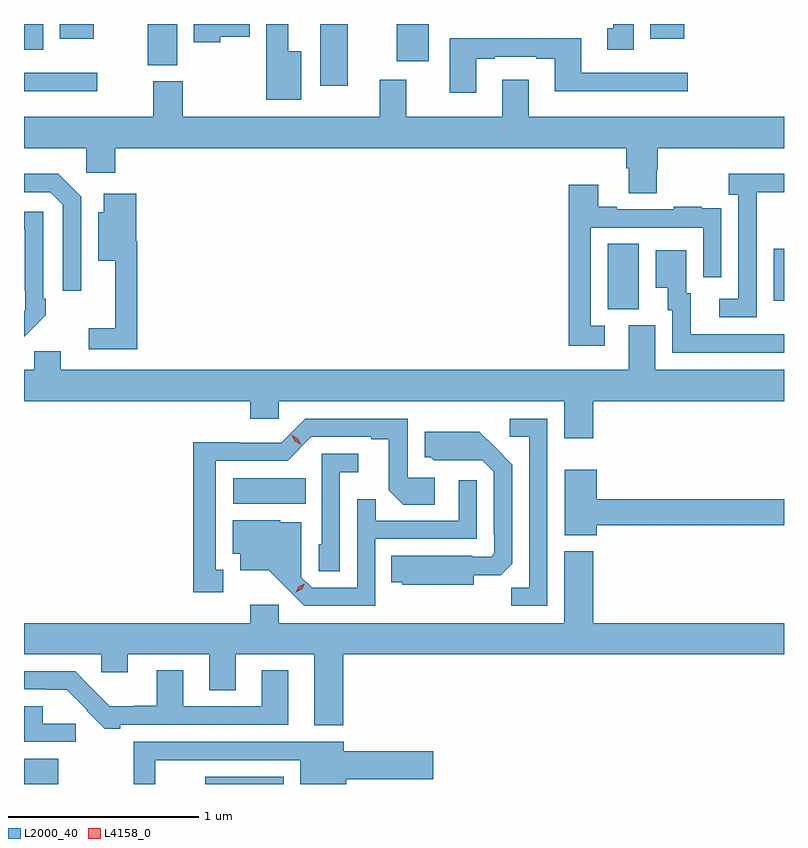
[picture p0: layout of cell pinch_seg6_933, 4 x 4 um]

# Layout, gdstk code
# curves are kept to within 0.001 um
import gdstk
lib = gdstk.Library(unit=1e-6, precision=1e-09)
def R(c, l, rs):  # rectangles x0, y0, x1, y1
    for r in rs: c.add(gdstk.rectangle(r[:2], r[2:], *l))
def P(c, l, *ps):  # polygons
    for p in ps: c.add(gdstk.Polygon(p, *l))
L2000_40 = (2000, 40)
L4158_0 = (4158, 0)

pinch_seg6_933 = lib.new_cell('pinch_seg6_933')
R(pinch_seg6_933, L2000_40, [(346.952,926.673,347.131,926.806), (347.907,926.673,348.318,926.71), (348.054,928.148,348.434,928.282), (350.024,929.173,350.188,929.516), (350.897,929.217,350.952,929.491), (346.952,930.32,347.338,930.417), (348.512,930.348,348.655,930.673), (347.603,930.457,347.758,930.673), (348.914,930.477,349.081,930.673), (346.952,930.537,347.053,930.673), (347.141,930.596,347.32,930.673), (350.249,930.596,350.428,930.673)])
P(pinch_seg6_933, L2000_40, [(347.985,930.605),(348.139,930.605),(348.139,930.673),(347.846,930.673),(347.846,930.578),(347.985,930.578)],
  [(350.161,930.673),(350.054,930.673),(350.054,930.65),(350.021,930.65),(350.021,930.537),(350.161,930.537)],
  [(348.412,930.529),(348.343,930.529),(348.343,930.673),(348.227,930.673),(348.227,930.275),(348.412,930.275)],
  [(349.333,930.489),(349.429,930.489),(349.429,930.501),(349.649,930.501),(349.649,930.489),(349.745,930.489),(349.745,930.32),(350.446,930.32),(350.446,930.417),(349.885,930.417),(349.885,930.598),(349.193,930.598),(349.193,930.312),(349.333,930.312)],
  [(348.824,930.379),(348.824,930.184),(347.787,930.184),(347.787,930.372),(347.632,930.372),(347.632,930.184),(346.952,930.184),(346.952,930.02),(347.28,930.02),(347.28,929.889),(347.432,929.889),(347.432,930.02),(350.123,930.02),(350.123,929.914),(350.135,929.914),(350.135,929.782),(350.283,929.782),(350.283,929.907),(350.288,929.907),(350.288,930.02),(350.952,930.02),(350.952,930.184),(349.609,930.184),(349.609,930.379),(349.469,930.379),(349.469,930.184),(348.964,930.184),(348.964,930.379)],
  [(347.253,929.763),(347.132,929.884),(346.952,929.884),(346.952,929.787),(347.091,929.787),(347.157,929.721),(347.157,929.268),(347.253,929.268)],
  [(350.808,929.587),(350.809,929.587),(350.809,929.787),(350.952,929.787),(350.952,929.884),(350.661,929.884),(350.661,929.774),(350.712,929.774),(350.712,929.226),(350.61,929.226),(350.61,929.13),(350.808,929.13)],
  [(350.008,929.085),(349.935,929.085),(349.935,929.601),(350.526,929.601),(350.526,929.34),(350.622,929.34),(350.622,929.594),(350.621,929.594),(350.621,929.703),(350.519,929.703),(350.519,929.71),(350.371,929.71),(350.371,929.697),(350.071,929.697),(350.071,929.71),(349.975,929.71),(349.975,929.827),(349.819,929.827),(349.819,928.98),(350.008,928.98)],
  [(347.549,929.53),(347.543,929.53),(347.543,929.779),(347.372,929.779),(347.372,929.683),(347.342,929.683),(347.342,929.426),(347.432,929.426),(347.432,929.071),(347.292,929.071),(347.292,928.962),(347.549,928.962)],
  [(346.961,929.035),(346.962,929.034),(347.067,929.139),(347.067,929.227),(347.052,929.227),(347.052,929.685),(346.952,929.685),(346.952,929.589),(346.956,929.589),(346.956,929.269),(346.959,929.269),(346.959,929.169),(346.952,929.162),(346.952,929.026)],
  [(350.952,929.041),(350.945,929.041),(350.945,929.04),(350.461,929.04),(350.461,929.256),(350.437,929.256),(350.437,929.482),(350.276,929.482),(350.276,929.285),(350.339,929.285),(350.339,929.166),(350.364,929.166),(350.364,928.944),(350.952,928.944)],
  [(349.949,928.688),(350.952,928.688),(350.952,928.852),(350.275,928.852),(350.275,929.088),(350.135,929.088),(350.135,928.852),(347.146,928.852),(347.146,928.95),(347.007,928.95),(347.007,928.852),(346.952,928.852),(346.952,928.688),(348.143,928.688),(348.143,928.595),(348.294,928.595),(348.294,928.688),(349.796,928.688),(349.796,928.494),(349.949,928.494)],
  [(349.707,928.596),(349.509,928.596),(349.509,928.5),(349.611,928.5),(349.611,927.707),(349.516,927.707),(349.516,927.612),(349.707,927.612)],
  [(348.001,927.801),(347.962,927.801),(347.962,928.374),(348.339,928.374),(348.465,928.5),(348.779,928.5),(348.779,928.488),(348.873,928.488),(348.873,928.22),(348.949,928.144),(349.114,928.144),(349.114,928.284),(348.972,928.284),(348.972,928.596),(348.432,928.596),(348.306,928.47),(348.084,928.47),(348.084,928.472),(347.844,928.472),(347.844,927.681),(348.001,927.681)],
  [(349.318,927.773),(349.462,927.773),(349.521,927.832),(349.521,928.354),(349.349,928.528),(349.061,928.528),(349.061,928.392),(349.092,928.392),(349.108,928.376),(349.365,928.377),(349.425,928.317),(349.425,927.988),(349.428,927.988),(349.428,927.888),(349.41,927.87),(349.31,927.87),(349.31,927.874),(348.886,927.874),(348.886,927.734),(348.942,927.734),(348.942,927.722),(349.318,927.722)],
  [(348.615,928.313),(348.712,928.313),(348.712,928.41),(348.519,928.41),(348.519,927.936),(348.504,927.936),(348.504,927.793),(348.615,927.793)],
  [(349.966,928.036),(350.952,928.036),(350.952,928.172),(349.966,928.172),(349.966,928.327),(349.799,928.327),(349.799,927.983),(349.966,927.983)],
  [(348.801,927.963),(349.335,927.963),(349.335,928.273),(349.239,928.273),(349.239,928.059),(348.803,928.059),(348.803,928.172),(348.705,928.172),(348.705,927.705),(348.468,927.705),(348.411,927.762),(348.411,928.051),(348.3,928.051),(348.3,928.06),(348.05,928.06),(348.05,927.884),(348.089,927.884),(348.089,927.797),(348.241,927.797),(348.428,927.612),(348.801,927.612)],
  [(349.796,927.898),(349.796,927.52),(348.294,927.52),(348.294,927.616),(348.143,927.616),(348.143,927.52),(346.952,927.52),(346.952,927.356),(347.358,927.356),(347.358,927.261),(347.497,927.261),(347.497,927.356),(347.927,927.356),(347.927,927.166),(348.067,927.166),(348.067,927.356),(348.479,927.356),(348.479,926.981),(348.632,926.981),(348.632,927.356),(350.952,927.356),(350.952,927.52),(349.949,927.52),(349.949,927.898)],
  [(347.458,926.985),(348.343,926.985),(348.343,927.271),(348.203,927.271),(348.203,927.081),(347.791,927.081),(347.791,927.271),(347.651,927.271),(347.651,927.086),(347.531,927.086),(347.531,927.082),(347.402,927.082),(347.292,927.192),(347.294,927.194),(347.221,927.267),(346.952,927.267),(346.952,927.171),(347.176,927.17),(347.285,927.062),(347.282,927.059),(347.377,926.963),(347.458,926.963)],
  [(347.224,926.991),(347.05,926.991),(347.05,927.081),(346.952,927.081),(346.952,926.985),(346.953,926.985),(346.953,926.895),(347.224,926.895)],
  [(347.642,926.799),(348.407,926.799),(348.407,926.673),(348.647,926.673),(348.647,926.699),(349.105,926.699),(349.105,926.846),(348.634,926.846),(348.634,926.895),(347.529,926.895),(347.529,926.673),(347.642,926.673)])
P(pinch_seg6_933, L4158_0, [(348.382,927.681),(348.382,927.681),(348.399,927.711),(348.43,927.727),(348.43,927.727),(348.43,927.727),(348.413,927.697),(348.382,927.681)],
  [(348.41,928.459),(348.378,928.477),(348.361,928.51),(348.361,928.51),(348.361,928.51),(348.393,928.491),(348.41,928.459),(348.41,928.459)])

lib.write_gds('pinch_seg6_933.gds')
